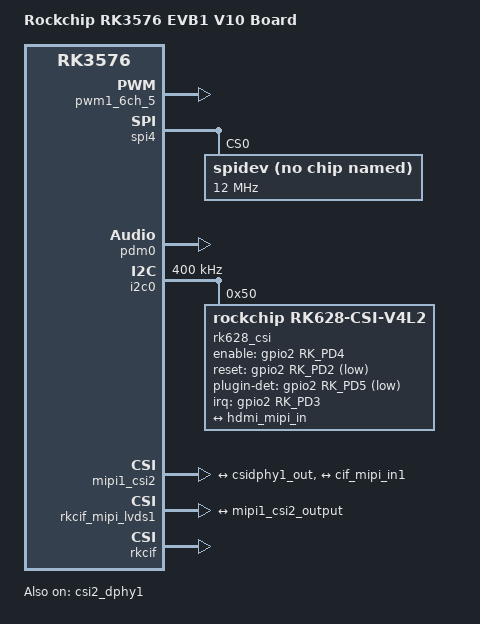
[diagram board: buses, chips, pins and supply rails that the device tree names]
// SPDX-License-Identifier: (GPL-2.0+ OR MIT)
/*
 * Copyright (c) 2024 Rockchip Electronics Co., Ltd.
 *
 */

/dts-v1/;

#include "rk3576.dtsi"
#include "rk3576-evb1.dtsi"

#include "rk3576-linux.dtsi"

/ {
	model = "Rockchip RK3576 EVB1 V10 Board";
	compatible = "rockchip,rk3576-evb1-v10", "rockchip,rk3576";

    pdmics: dummy-codec {
        status = "okay";
        compatible = "rockchip,dummy-codec";
        #sound-dai-cells = <0>;
    };

    pdm_mic_array: pdm-mic-array {
        status = "okay";
        compatible = "simple-audio-card";
        simple-audio-card,name = "rockchip,pdm-mic-array";
        simple-audio-card,cpu {
            sound-dai = <&pdm0>;
        };
        simple-audio-card,codec {
            sound-dai = <&pdmics>;
        };
    };  
};

/**********pwm-fan**********/

&pwm1_6ch_5 {
    status = "okay";
    pinctrl-0 = <&pwm1m1_ch5>;
};

/**********3PIN SPI呼吸灯**********/

&spi4 {
    status = "okay";
    pinctrl-names = "default";
    pinctrl-0 = <&spi4m3_csn0 &spi4m3_pins>;
    
    
    #address-cells = <1>;
    #size-cells = <0>;

    // 定义 SPI 设备：片选 0，生成 /dev/spidev4.0
    spidev@0 {
        compatible = "rockchip,spidev";   // 使驱动匹配的兼容字符串，也可用 "spidev"
        reg = <0>;                         // 片选号（0 对应 CS0）
        spi-max-frequency = <12000000>;     // 设置最大 SPI 时钟频率（单位 Hz），根据实际调整
        status = "okay";
    };

};

/**********PDM麦克风阵列**********/

&pdm0 {
    status = "okay";
        pinctrl-names = "default", "idle", "clk";
        pinctrl-0 = <&pdm0m0_sdi0
                 &pdm0m0_sdi1>;
        pinctrl-1 = <&pdm0m0_clk0_idle
                 &pdm0m0_clk1_idle>;
        pinctrl-2 = <&pdm0m0_clk0
                 &pdm0m0_clk1>;
};

/**********HDMI IN-RK628F*********/

&i2c0 {
    status = "okay";
    pinctrl-0 = <&i2c0m1_xfer>;
    clock-frequency = <400000>;

    rk628_csi: rk628_csi@50 {
        reg = <0x50>;
        compatible = "rockchip,rk628-csi-v4l2";
        status = "okay";
        power-domains = <&power RK3576_PD_VI>;
        pinctrl-names = "default";
        pinctrl-0 = <&rk628_pin>;
        interrupt-parent = <&gpio2>;
        interrupts = <RK_PD3 IRQ_TYPE_LEVEL_HIGH>;
        enable-gpios = <&gpio2 RK_PD4 GPIO_ACTIVE_HIGH>;
        reset-gpios = <&gpio2 RK_PD2 GPIO_ACTIVE_LOW>;
        plugin-det-gpios = <&gpio2 RK_PD5 GPIO_ACTIVE_LOW>;
        continues-clk = <1>;
        cec-enable;
        #sound-dai-cells = <0>;

        rockchip,camera-module-index = <0>;
        rockchip,camera-module-facing = "back";
        rockchip,camera-module-name = "HDMI-MIPI1";
        rockchip,camera-module-lens-name = "RK628-CSI";

        

        port {
            hdmiin_out: endpoint {
                remote-endpoint = <&hdmi_mipi_in>;
                data-lanes = <1 2 3 4>;
            };
        };
    };
};

/*-----------------------------------------------------------------------*/

&csi2_dphy1 {
    status = "okay";

    ports {
        #address-cells = <1>;
        #size-cells = <0>;
        port@0 {
            reg = <0>;
            #address-cells = <1>;
            #size-cells = <0>;

            hdmi_mipi_in: endpoint@1 {
                reg = <1>;
                remote-endpoint = <&hdmiin_out>;
                data-lanes = <1 2 3 4>;
            };
        

        };
        port@1 {
            reg = <1>;
            #address-cells = <1>;
            #size-cells = <0>;

            csidphy1_out: endpoint@0 {
                reg = <0>;
                remote-endpoint = <&mipi1_csi2_input>;
            };
        };
    };
};

/*-----------------------------------------------------------------------*/

&mipi1_csi2 {
    status = "okay";

    ports {
        #address-cells = <1>;
        #size-cells = <0>;

        port@0 {
            reg = <0>;
            #address-cells = <1>;
            #size-cells = <0>;

            mipi1_csi2_input: endpoint@1 {
                reg = <1>;
                remote-endpoint = <&csidphy1_out>;
            };
        };

        port@1 {
            reg = <1>;
            #address-cells = <1>;
            #size-cells = <0>;

            mipi1_csi2_output: endpoint@0 {
                reg = <0>;
                remote-endpoint = <&cif_mipi_in1>;
            };
        };
    };
};

/*-----------------------------------------------------------------------*/

&rkcif_mipi_lvds1 {
    status = "okay";

    port {
        cif_mipi_in1: endpoint {
            remote-endpoint = <&mipi1_csi2_output>;
        };
    };
};

/*-----------------------------------------------------------------------*/

&rkcif {
    status = "okay";
};

&rkcif_mmu {
    status = "okay";
};

&pinctrl {
    hdmiin {
        rk628_pin: rk628-pin {
            rockchip,pins = <2 RK_PD3 RK_FUNC_GPIO &pcfg_pull_none>,
                    <2 RK_PD4 RK_FUNC_GPIO &pcfg_pull_none>,
                    <2 RK_PD2 RK_FUNC_GPIO &pcfg_pull_none>,
                    <2 RK_PD5 RK_FUNC_GPIO &pcfg_pull_none>;
        };
    };
};
